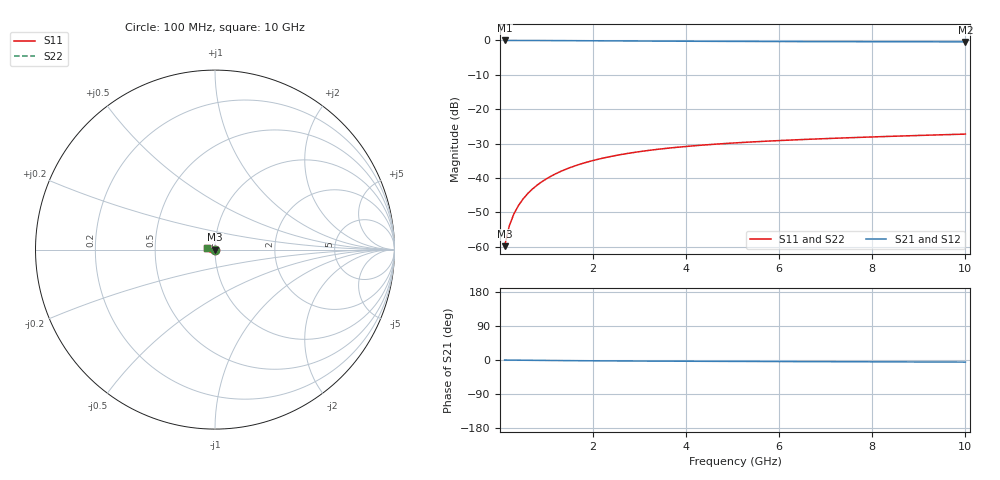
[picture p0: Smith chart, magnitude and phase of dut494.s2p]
! Touchstone file exported from HFSS 2024.1.0
!  File:  C:/UserFiles/LocalFiles/RDL_TSV_Batchsim/temp_TSV1_494_1779700740.aedt
!  Generated:  05:24:26 PM May 25, 2026
!  Design:  TSV1
!  Project:  temp_TSV1_494_1779700740
!  Setup:  Setup1
!  Solution:  Sweep
! Variables:
!  dtsv = 8.03um
!  hbump = 3um
!  htsv = 85.77um
!  lrdl = 252.1521522um
!  p = 40
!  p1 = 49.29um
!  t = 500um
!  trdl = 3um
!  wrdl = 24.89489489um
# GHz S MA R 50.000000
! Terminal data exported
! Port[1] = TSV22_T1
! Port[2] = TSV22_T2
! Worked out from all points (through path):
!   100 points, 100 MHz to 10 GHz, reference 50 ohm
!   highest |S21| = 0.00 dB at 100 MHz (marker M1); lowest = -0.4 dB at 10 GHz (marker M2)
!   lowest |S11| = -59.8 dB at 100 MHz (marker M3), VSWR 1.00, Z = 50 - j0.1 ohm
!   |S11| at or under -10 dB: start of sweep to end of sweep
!   |S22| runs from -59.8 to -27.2 dB; largest |S21 - S12| = 4.1e-15
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0.1  0.001024 -78.7  0.9997 -0.1  0.9997 -0.1  0.001024 -78.7
! Gamma 0 0 0 0
! Port Impedance 50 0 50 0
0.2  0.002018 -86.9  0.9996 -0.2  0.9996 -0.2  0.002018 -86.9
0.3  0.003018 -91.0  0.9994 -0.4  0.9994 -0.4  0.003018 -91.0
0.4  0.004014 -94.0  0.9992 -0.5  0.9992 -0.5  0.004014 -94.0
0.5  0.005002 -96.6  0.9989 -0.6  0.9989 -0.6  0.005002 -96.6
0.6  0.005982 -98.9  0.9985 -0.7  0.9985 -0.7  0.005982 -98.9
0.7  0.00695 -101.1  0.9981 -0.8  0.9981 -0.8  0.00695 -101.1
0.8  0.007905 -103.2  0.9976 -0.9  0.9976 -0.9  0.007905 -103.2
0.9  0.008847 -105.2  0.9971 -1.0  0.9971 -1.0  0.008847 -105.2
1.1  0.01068 -109.1  0.9959 -1.3  0.9959 -1.3  0.01068 -109.1
1.4  0.0133 -114.6  0.9939 -1.6  0.9939 -1.6  0.0133 -114.6
1.6  0.01495 -118.1  0.9924 -1.7  0.9924 -1.7  0.01495 -118.1
1.8  0.01651 -121.4  0.9908 -1.9  0.9908 -1.9  0.01651 -121.4
2.1  0.01871 -126.3  0.9883 -2.2  0.9883 -2.2  0.01871 -126.3
2.5  0.02134 -132.3  0.985 -2.5  0.985 -2.5  0.02134 -132.3
2.9  0.02368 -137.8  0.9818 -2.7  0.9818 -2.7  0.02368 -137.8
3.4  0.02621 -144.2  0.978 -3.0  0.978 -3.0  0.02621 -144.2
4.2  0.02956 -153.2  0.9727 -3.4  0.9727 -3.4  0.02956 -153.2
5.1  0.03258 -162.0  0.9679 -3.7  0.9679 -3.7  0.03258 -162.0
6.7  0.03677 -174.8  0.9617 -4.3  0.9617 -4.3  0.03677 -174.8
8.4  0.04041 174.3  0.9573 -4.9  0.9573 -4.9  0.04042 174.3
10  0.04354 165.7  0.9544 -5.5  0.9544 -5.5  0.04354 165.7
